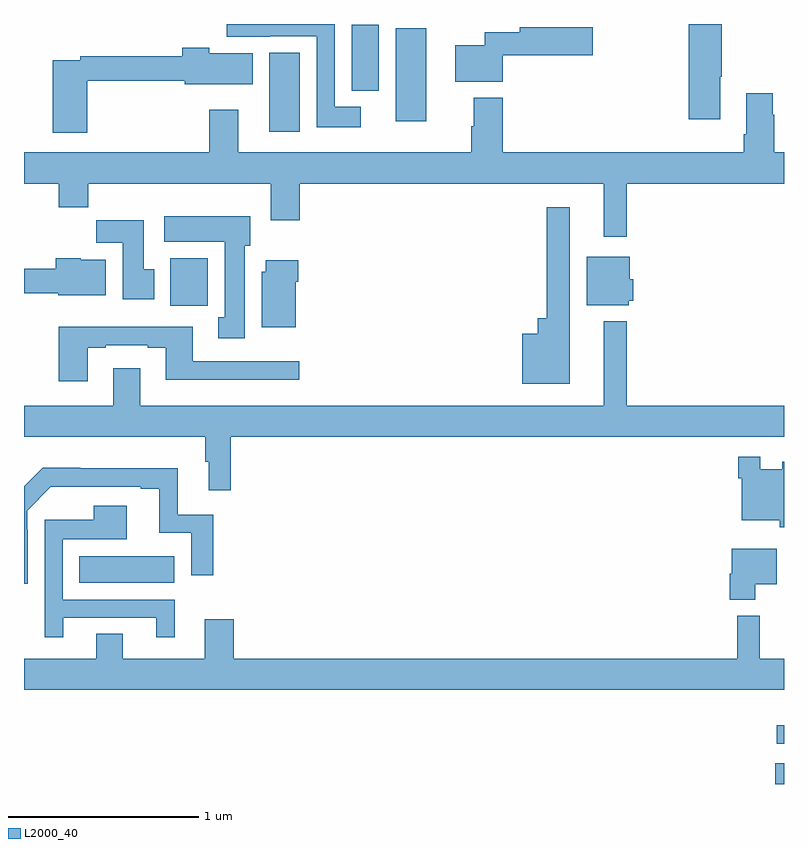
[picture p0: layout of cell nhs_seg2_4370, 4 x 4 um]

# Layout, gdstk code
import gdstk
lib = gdstk.Library(unit=1e-6, precision=1e-09)
def R(c, l, rs):  # rectangles x0, y0, x1, y1
    for r in rs: c.add(gdstk.rectangle(r[:2], r[2:], *l))
def P(c, l, *ps):  # polygons
    for p in ps: c.add(gdstk.Polygon(p, *l))
L2000_40 = (2000, 40)

nhs_seg2_4370 = lib.new_cell('nhs_seg2_4370')
R(nhs_seg2_4370, L2000_40, [(350.954,653.8,351,653.908), (350.961,654.012,351,654.11), (347.29,654.86,347.791,655), (347.771,656.316,347.967,656.566), (348.29,657.234,348.451,657.649), (348.956,657.288,349.117,657.778), (348.725,657.449,348.868,657.796)])
P(nhs_seg2_4370, L2000_40, [(348.772,657.364),(348.636,657.364),(348.636,657.8),(348.068,657.8),(348.068,657.734),(348.294,657.734),(348.294,657.735),(348.54,657.735),(348.54,657.257),(348.772,657.257)],
  [(350.665,657.523),(350.673,657.523),(350.673,657.8),(350.498,657.8),(350.498,657.3),(350.665,657.3)],
  [(349.521,657.635),(349.993,657.635),(349.993,657.782),(349.608,657.782),(349.608,657.757),(349.425,657.757),(349.425,657.688),(349.271,657.688),(349.271,657.497),(349.521,657.497)],
  [(347.333,657.501),(347.846,657.501),(347.846,657.482),(348.205,657.482),(348.205,657.646),(347.976,657.646),(347.976,657.676),(347.834,657.676),(347.834,657.629),(347.296,657.629),(347.296,657.609),(347.15,657.609),(347.15,657.228),(347.333,657.228)],
  [(350.173,656.96),(351,656.96),(351,657.124),(350.949,657.124),(350.949,657.323),(350.941,657.323),(350.941,657.436),(350.801,657.436),(350.801,657.22),(350.789,657.22),(350.789,657.124),(349.52,657.124),(349.52,657.412),(349.367,657.412),(349.367,657.263),(349.355,657.263),(349.355,657.124),(348.127,657.124),(348.127,657.349),(347.975,657.349),(347.975,657.124),(347,657.124),(347,656.96),(347.183,656.96),(347.183,656.836),(347.339,656.836),(347.339,656.96),(348.299,656.96),(348.299,656.766),(348.452,656.766),(348.452,656.96),(350.051,656.96),(350.051,656.679),(350.173,656.679)],
  [(349.873,656.836),(349.752,656.836),(349.752,656.251),(349.703,656.251),(349.703,656.17),(349.622,656.17),(349.622,655.907),(349.873,655.907)],
  [(348.163,656.634),(348.19,656.634),(348.19,656.788),(347.739,656.788),(347.739,656.654),(348.056,656.654),(348.056,656.257),(348.023,656.257),(348.023,656.145),(348.163,656.145)],
  [(347.686,656.508),(347.629,656.508),(347.629,656.767),(347.38,656.767),(347.38,656.648),(347.519,656.648),(347.519,656.352),(347.686,656.352)],
  [(350.184,656.343),(350.206,656.343),(350.206,656.457),(350.188,656.457),(350.188,656.575),(349.961,656.575),(349.961,656.321),(350.184,656.321)],
  [(347.431,656.56),(347.298,656.56),(347.298,656.566),(347.168,656.566),(347.168,656.512),(347,656.512),(347,656.383),(347.18,656.383),(347.18,656.372),(347.431,656.372)],
  [(348.43,656.444),(348.443,656.444),(348.443,656.557),(348.272,656.557),(348.272,656.496),(348.251,656.496),(348.251,656.204),(348.43,656.204)],
  [(348.089,655.628),(351,655.628),(351,655.792),(350.173,655.792),(350.173,656.236),(350.051,656.236),(350.051,655.792),(347.611,655.792),(347.611,655.987),(347.471,655.987),(347.471,655.792),(347,655.792),(347,655.628),(347.953,655.628),(347.953,655.496),(347.972,655.496),(347.972,655.347),(348.089,655.347)],
  [(347.335,656.097),(347.431,656.097),(347.431,656.109),(347.651,656.109),(347.651,656.097),(347.747,656.097),(347.747,655.928),(348.448,655.928),(348.448,656.025),(347.887,656.025),(347.887,656.206),(347.183,656.206),(347.183,655.92),(347.335,655.92)],
  [(351,655.495),(350.99,655.495),(350.99,655.456),(350.874,655.456),(350.874,655.522),(350.758,655.522),(350.758,655.409),(350.778,655.409),(350.778,655.187),(350.978,655.187),(350.978,655.151),(351,655.151)],
  [(347.019,655.139),(347.016,655.139),(347.016,655.239),(347.142,655.365),(347.615,655.365),(347.615,655.353),(347.711,655.353),(347.711,655.122),(347.88,655.122),(347.88,654.9),(347.996,654.9),(347.996,655.218),(347.809,655.218),(347.809,655.462),(347.297,655.462),(347.297,655.465),(347.098,655.465),(347,655.367),(347,654.854),(347.019,654.854)],
  [(347.206,654.675),(347.696,654.675),(347.696,654.573),(347.794,654.573),(347.794,654.771),(347.205,654.771),(347.205,655.088),(347.542,655.088),(347.542,655.264),(347.366,655.264),(347.366,655.192),(347.109,655.192),(347.109,654.573),(347.206,654.573)],
  [(350.848,654.851),(350.962,654.851),(350.962,655.039),(350.726,655.039),(350.726,654.906),(350.714,654.906),(350.714,654.77),(350.848,654.77)],
  [(351,654.46),(350.873,654.46),(350.873,654.685),(350.755,654.685),(350.755,654.46),(348.104,654.46),(348.104,654.667),(347.951,654.667),(347.951,654.46),(347.521,654.46),(347.521,654.59),(347.381,654.59),(347.381,654.46),(347,654.46),(347,654.296),(351,654.296)])

lib.write_gds('nhs_seg2_4370.gds')
